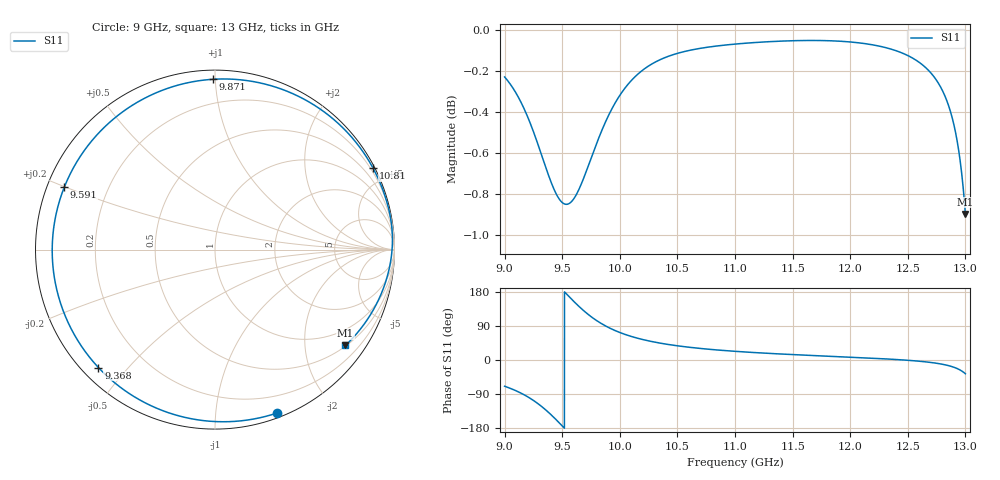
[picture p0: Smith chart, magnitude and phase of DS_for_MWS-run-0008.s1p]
! TOUCHSTONE file generated by CST DESIGN STUDIO
! Date and time: Tue Feb  4 16:46:03 2025
! Project name: C:\Work\MatlabApps\UnitCellOptimizationMatlab\CST\unitcell.cst
! Tree item: Tasks\Sweep1\SPara1\S-Parameters
! Header version: 2024
! Port assignment regex: !\s*Touchstone port\s*([0-9]+)\s*=\s*(CST MWS port|CST DES external port|CST DES block port)\s*(.+)\s* \(\"(.*)\"\)(\s*mode\s*([0-9]+))?.*
! Touchstone port assignment:
! Touchstone port 1 = CST DES external port 1 ("")
# GHz S MA R 50
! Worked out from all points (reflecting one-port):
!   4001 points, 9 GHz to 13 GHz, reference 50 ohm
!   lowest |S11| = -0.9 dB at 13 GHz (marker M1), VSWR 19.38, Z = 25.9 - j148 ohm
!   phase of S11 starts at -69 deg and turns -327 deg over the sweep
!   S11 on the Smith chart (normalised r, x): 9 GHz: 0.04, -1.45; 9.368 GHz: 0.05, -0.42; 9.591 GHz: 0.05, +0.20; 9.871 GHz: 0.05, +0.99; 10.81 GHz: 0.08, +4.12; 13 GHz: 0.52, -2.97
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9  0.9738 -69.2
9.103  0.9646 -81.7
9.216  0.9499 -100.0
9.295  0.9368 -116.4
9.368  0.9239 -134.6
9.439  0.9132 -155.0
9.5  0.9077 -173.9
9.545  0.9069 171.8
9.591  0.9089 157.5
9.659  0.9162 137.6
9.724  0.9261 120.6
9.793  0.9373 105.2
9.871  0.9489 90.8
9.935  0.957 81.0
10  0.9638 72.6
10.102  0.972 62.0
10.216  0.9783 52.8
10.347  0.9832 44.7
10.5  0.9867 37.5
10.813  0.9906 27.3
11  0.9919 22.9
11.5  0.9937 14.3
12  0.9931 7.5
12.5  0.9855 -0.7
12.681  0.9773 -5.8
12.814  0.9647 -12.1
12.921  0.942 -21.6
13  0.9019 -36.3
